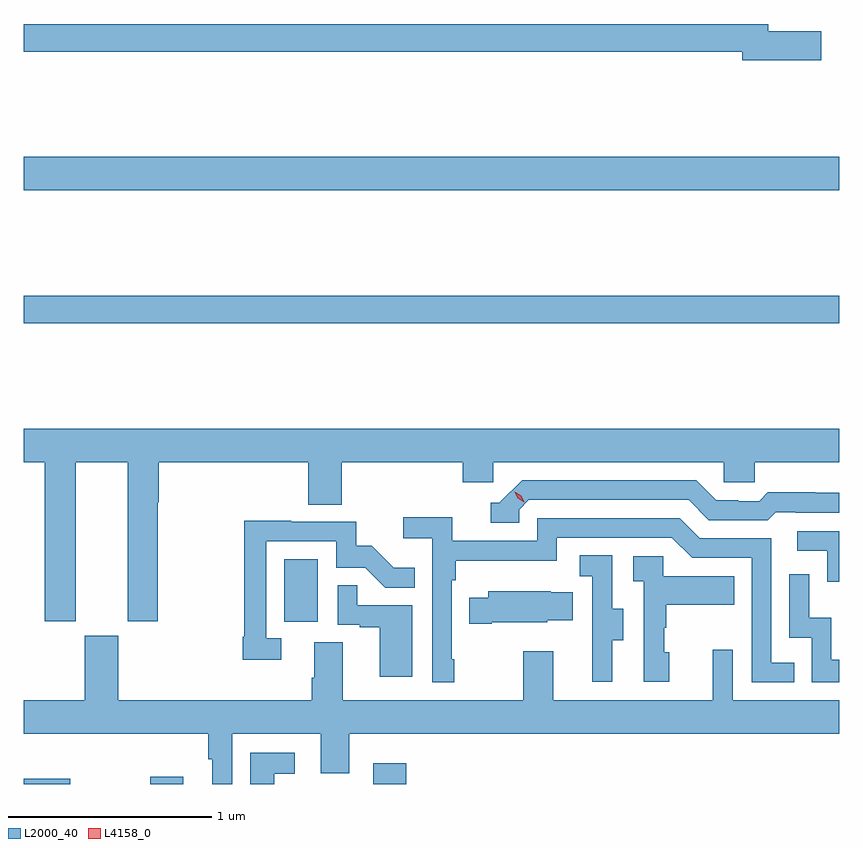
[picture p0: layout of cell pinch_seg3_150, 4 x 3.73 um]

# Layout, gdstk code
import gdstk
lib = gdstk.Library(unit=1e-6, precision=1e-09)
def R(c, l, rs):  # rectangles x0, y0, x1, y1
    for r in rs: c.add(gdstk.rectangle(r[:2], r[2:], *l))
def P(c, l, *ps):  # polygons
    for p in ps: c.add(gdstk.Polygon(p, *l))
L2000_40 = (2000, 40)
L4158_0 = (4158, 0)

pinch_seg3_150 = lib.new_cell('pinch_seg3_150')
R(pinch_seg3_150, L2000_40, [(1112.647,720.65,1112.875,720.676), (1113.269,720.65,1113.43,720.685), (1114.361,720.65,1114.522,720.751), (1113.926,721.446,1114.09,721.753), (1112.647,722.908,1116.647,723.044), (1112.647,723.56,1116.647,723.724)])
P(pinch_seg3_150, L2000_40, [(1116.559,724.34),(1116.298,724.34),(1116.298,724.376),(1112.647,724.376),(1112.647,724.24),(1116.17,724.24),(1116.17,724.198),(1116.559,724.198)],
  [(1112.902,722.228),(1113.158,722.228),(1113.158,721.449),(1113.306,721.449),(1113.306,722.032),(1113.311,722.032),(1113.311,722.228),(1114.043,722.228),(1114.043,722.02),(1114.208,722.02),(1114.208,722.228),(1114.799,722.228),(1114.799,722.13),(1114.95,722.13),(1114.95,722.228),(1116.081,722.228),(1116.081,722.13),(1116.231,722.13),(1116.231,722.228),(1116.647,722.228),(1116.647,722.392),(1112.647,722.392),(1112.647,722.228),(1112.75,722.228),(1112.75,721.449),(1112.902,721.449)],
  [(1115.076,721.995),(1115.124,722.043),(1115.907,722.043),(1116.006,721.944),(1116.295,721.944),(1116.334,721.983),(1116.433,721.983),(1116.433,721.98),(1116.647,721.98),(1116.647,722.077),(1116.528,722.077),(1116.528,722.08),(1116.295,722.08),(1116.253,722.037),(1116.15,722.037),(1116.15,722.04),(1116.043,722.04),(1115.944,722.139),(1115.091,722.139),(1114.98,722.028),(1114.937,722.028),(1114.937,721.932),(1115.076,721.932)],
  [(1114.759,721.261),(1114.746,721.261),(1114.746,721.649),(1114.766,721.649),(1114.766,721.745),(1115.262,721.745),(1115.262,721.857),(1115.826,721.857),(1115.925,721.758),(1116.216,721.758),(1116.216,721.149),(1116.425,721.149),(1116.425,721.245),(1116.312,721.245),(1116.312,721.854),(1115.962,721.854),(1115.863,721.953),(1115.166,721.953),(1115.166,721.842),(1114.748,721.842),(1114.748,721.958),(1114.509,721.958),(1114.509,721.856),(1114.65,721.856),(1114.65,721.149),(1114.759,721.149)],
  [(1113.91,721.365),(1113.837,721.365),(1113.837,721.839),(1114.179,721.839),(1114.179,721.71),(1114.323,721.71),(1114.421,721.612),(1114.565,721.612),(1114.565,721.711),(1114.461,721.711),(1114.354,721.818),(1114.278,721.818),(1114.278,721.935),(1113.959,721.935),(1113.959,721.94),(1113.729,721.94),(1113.729,721.372),(1113.721,721.372),(1113.721,721.26),(1113.91,721.26)],
  [(1116.647,721.89),(1116.441,721.89),(1116.441,721.794),(1116.588,721.794),(1116.588,721.641),(1116.647,721.641)],
  [(1115.533,721.354),(1115.587,721.354),(1115.587,721.509),(1115.532,721.509),(1115.532,721.772),(1115.373,721.772),(1115.373,721.669),(1115.436,721.669),(1115.436,721.365),(1115.435,721.365),(1115.435,721.152),(1115.533,721.152)],
  [(1115.812,721.296),(1115.787,721.296),(1115.787,721.415),(1115.797,721.415),(1115.797,721.529),(1116.131,721.529),(1116.131,721.669),(1115.784,721.669),(1115.784,721.767),(1115.637,721.767),(1115.637,721.643),(1115.688,721.643),(1115.688,721.152),(1115.812,721.152)],
  [(1116.647,721.258),(1116.608,721.258),(1116.608,721.466),(1116.498,721.466),(1116.498,721.678),(1116.402,721.678),(1116.402,721.368),(1116.51,721.368),(1116.51,721.149),(1116.647,721.149)],
  [(1114.552,721.527),(1114.283,721.527),(1114.283,721.625),(1114.188,721.625),(1114.188,721.431),(1114.295,721.431),(1114.295,721.419),(1114.394,721.419),(1114.394,721.176),(1114.552,721.176)],
  [(1114.942,721.442),(1115.214,721.442),(1115.214,721.454),(1115.339,721.454),(1115.339,721.591),(1115.231,721.591),(1115.231,721.594),(1114.925,721.594),(1114.925,721.564),(1114.831,721.564),(1114.831,721.435),(1114.942,721.435)],
  [(1113.669,720.896),(1114.103,720.896),(1114.103,720.702),(1114.243,720.702),(1114.243,720.896),(1116.647,720.896),(1116.647,721.06),(1116.123,721.06),(1116.123,721.309),(1116.026,721.309),(1116.026,721.06),(1115.245,721.06),(1115.245,721.3),(1115.098,721.3),(1115.098,721.06),(1114.213,721.06),(1114.213,721.346),(1114.073,721.346),(1114.073,721.172),(1114.061,721.172),(1114.061,721.06),(1113.112,721.06),(1113.112,721.377),(1112.948,721.377),(1112.948,721.06),(1112.647,721.06),(1112.647,720.896),(1113.553,720.896),(1113.553,720.772),(1113.572,720.772),(1113.572,720.65),(1113.669,720.65)],
  [(1113.877,720.701),(1113.976,720.701),(1113.976,720.802),(1113.758,720.802),(1113.758,720.65),(1113.877,720.65)])
P(pinch_seg3_150, L4158_0, [(1115.102,722.031),(1115.071,722.05),(1115.055,722.083),(1115.055,722.083),(1115.055,722.083),(1115.086,722.064),(1115.102,722.031),(1115.102,722.031)])

lib.write_gds('pinch_seg3_150.gds')
